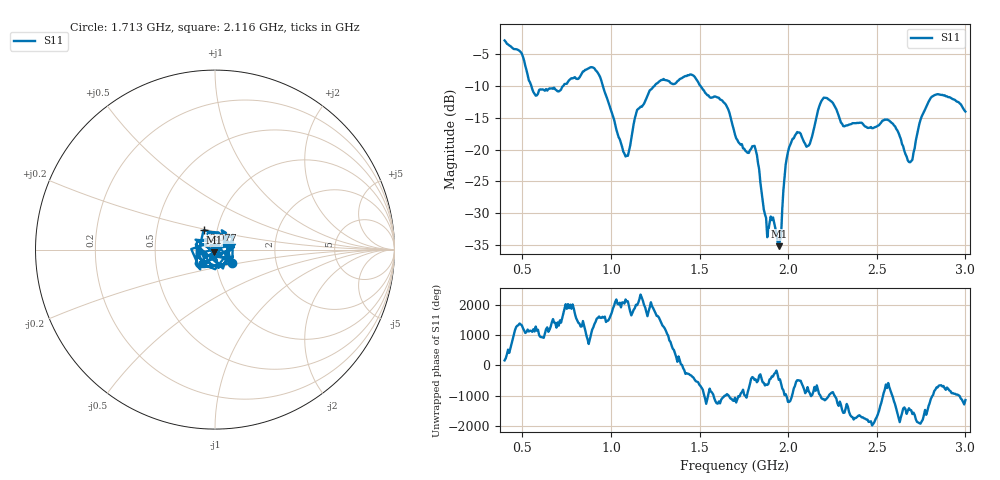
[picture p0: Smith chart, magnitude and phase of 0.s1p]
!Created with skrf (http://scikit-rf.org).
# Hz S RI R 50.0
!freq ReS11 ImS11
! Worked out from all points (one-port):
!   401 points, 400 MHz to 3 GHz, reference 50 ohm
!   lowest |S11| = -35.2 dB at 1.947 GHz (marker M1), VSWR 1.04, Z = 49.3 - j1.58 ohm
!   |S11| at or under -10 dB: 550.8 MHz to 731.3 MHz (180.5 MHz wide, 28.2 % of centre); 954.4 MHz to 1.246 GHz (291.2 MHz wide, 26.5 % of centre); 1.505 GHz to end of sweep
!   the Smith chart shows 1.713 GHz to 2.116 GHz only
!   S11 on the Smith chart (normalised r, x): 1.713 GHz: 1.19, -0.18; 2.077 GHz: 0.86, +0.19; 2.116 GHz: 0.86, -0.14
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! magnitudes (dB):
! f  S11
! 400 MHz  -2.8
! 491 MHz  -4.7
! 569 MHz  -11.3
! 725 MHz  -10.1
! 907 MHz  -7.2
! 1.05 GHz  -18.4
! 1.089 GHz  -21.0
! 1.147 GHz  -13.8
! 1.226 GHz  -10.6
! 1.375 GHz  -9.2
! 1.46 GHz  -8.3
! 1.622 GHz  -12.2
! 1.7 GHz  -17.6
! 1.713 GHz  -18.5
! 1.81 GHz  -19.4
! 1.875 GHz  -30.8
! 1.915 GHz  -30.7
! 1.947 GHz  -35.2
! 1.992 GHz  -21.3
! 2.025 GHz  -18.3
! 2.077 GHz  -18.0
! 2.116 GHz  -19.4
! 2.207 GHz  -11.9
! 2.35 GHz  -16.0
! 2.571 GHz  -15.5
! 2.675 GHz  -21.7
! 2.818 GHz  -11.6
! 3 GHz  -14.0
